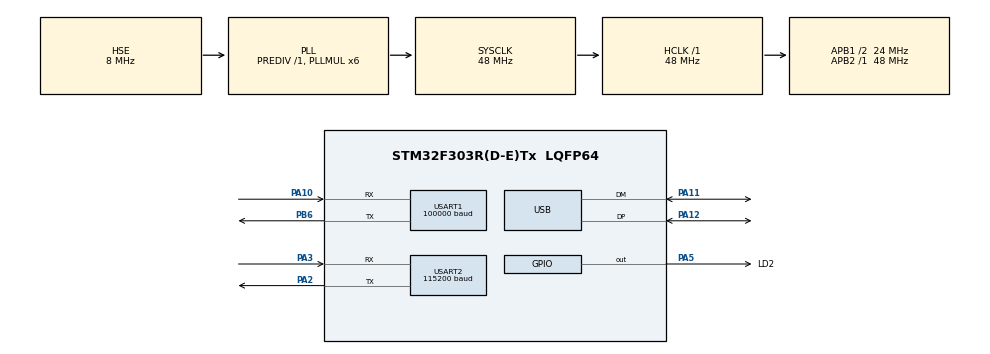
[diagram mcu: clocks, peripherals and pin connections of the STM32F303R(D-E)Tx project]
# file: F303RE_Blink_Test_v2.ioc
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Dma.Request0=USART1_RX
Dma.USART1_RX.0.Direction=DMA_PERIPH_TO_MEMORY
Dma.USART1_RX.0.Instance=DMA1_Channel5
Dma.USART1_RX.0.MemDataAlignment=DMA_MDATAALIGN_BYTE
Dma.USART1_RX.0.MemInc=DMA_MINC_ENABLE
Dma.USART1_RX.0.Mode=DMA_CIRCULAR
Dma.USART1_RX.0.PeriphDataAlignment=DMA_PDATAALIGN_BYTE
Dma.USART1_RX.0.PeriphInc=DMA_PINC_DISABLE
Dma.USART1_RX.0.Priority=DMA_PRIORITY_HIGH
Mcu.Family=STM32F3
Mcu.Name=STM32F303R(D-E)Tx
Mcu.Package=LQFP64
NVIC.DMA1_Channel5_IRQn=true\:0\:0\:false\:false\:true\:false\:true\:true
NVIC.PriorityGroup=NVIC_PRIORITYGROUP_4
NVIC.USART1_IRQn=true\:0\:0\:false\:false\:true\:true\:true\:true
NVIC.USB_LP_CAN_RX0_IRQn=true\:0\:0\:false\:false\:true\:false\:true\:true
PA10.Mode=Asynchronous
PA10.Signal=USART1_RX
PA11.Mode=Device
PA11.Signal=USB_DM
PA12.Mode=Device
PA12.Signal=USB_DP
PA13.Mode=Serial_Wire
PA13.Signal=SYS_JTMS-SWDIO
PA14.Mode=Serial_Wire
PA14.Signal=SYS_JTCK-SWCLK
PA2.Mode=Asynchronous
PA2.Signal=USART2_TX
PA3.Mode=Asynchronous
PA3.Signal=USART2_RX
PA5.GPIO_Label=LD2
PA5.Signal=GPIO_Output
PB6.Mode=Asynchronous
PB6.Signal=USART1_TX
PF0-OSC_IN.Mode=HSE-External-Clock-Source
PF0-OSC_IN.Signal=RCC_OSC_IN
ProjectManager.HeapSize=0x200
ProjectManager.StackSize=0x400
ProjectManager.TargetToolchain=STM32CubeIDE
RCC.AHBFreq_Value=48000000
RCC.APB1CLKDivider=RCC_HCLK_DIV2
RCC.APB1Freq_Value=24000000
RCC.APB1TimFreq_Value=48000000
RCC.APB2Freq_Value=48000000
RCC.APB2TimFreq_Value=48000000
RCC.CortexFreq_Value=48000000
RCC.HCLKFreq_Value=48000000
RCC.HSE_VALUE=8000000
RCC.HSI_VALUE=8000000
RCC.LSE_VALUE=32768
RCC.PLLMUL=RCC_PLL_MUL6
RCC.SYSCLKFreq_VALUE=48000000
RCC.SYSCLKSourceVirtual=RCC_SYSCLKSOURCE_PLLCLK
RCC.USBFreq_Value=48000000
USART1.BaudRate=100000
USART1.Mode=MODE_RX
USART1.Parity=PARITY_EVEN
USART1.RxPinLevelInvertParam=ADVFEATURE_RXINV_ENABLE
USART1.StopBits=STOPBITS_2
USART1.VirtualMode-Asynchronous=VM_ASYNC
USART1.WordLength=WORDLENGTH_9B
USART2.BaudRate=115200
USART2.DMADisableonRxErrorParam=ADVFEATURE_DMA_DISABLEONRXERROR
USART2.OverrunDisableParam=ADVFEATURE_OVERRUN_DISABLE
USART2.VirtualMode-Asynchronous=VM_ASYNC
USB_DEVICE.CLASS_NAME_FS=CUSTOM_HID
USB_DEVICE.MANUFACTURER_STRING=ASTRON BILECIK GM
USB_DEVICE.PRODUCT_STRING_CUSTOMHID_FS=STM32 SBUS Joystick
USB_DEVICE.USBD_SELF_POWERED=0
USB_DEVICE.VirtualMode=CustomHid
USB_DEVICE.VirtualModeFS=Custom_Hid_FS
VP_USB_DEVICE_VS_USB_DEVICE_CUSTOM_HID_FS.Mode=CUSTOM_HID_FS
board=custom

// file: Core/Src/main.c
/* USER CODE BEGIN Header */
/**
  ******************************************************************************
  * @file           : main.c
  * @brief          : Main program body
  ******************************************************************************
  * @attention
  *
  * Copyright (c) 2026 STMicroelectronics.
  * All rights reserved.
  *
  * This software is licensed under terms that can be found in the LICENSE file
  * in the root directory of this software component.
  * If no LICENSE file comes with this software, it is provided AS-IS.
  *
  ******************************************************************************
  */
/* USER CODE END Header */
#include "main.h"
#include "usb_device.h"

/* USER CODE BEGIN Includes */
#include <stdio.h>
#include <string.h>
#include "usb_device.h"
#include "usbd_customhid.h"
/* USER CODE END Includes */

/* USER CODE BEGIN PM */
#define SBUS_FRAME_SIZE             25U
#define SBUS_DMA_BUF_SIZE           64U
#define HID_JOYSTICK_REPORT_SIZE    15U
/* USER CODE END PM */

UART_HandleTypeDef huart1;
UART_HandleTypeDef huart2;
DMA_HandleTypeDef hdma_usart1_rx;

/* USER CODE BEGIN PV */

extern USBD_HandleTypeDef hUsbDeviceFS;

static uint8_t sbus_frame[SBUS_FRAME_SIZE];
static uint8_t sbus_index = 0;

static uint8_t sbus_flags = 0;
static uint8_t sbus_end_byte = 0;
static uint16_t sbus_channels[16] = {0};
static uint32_t sbus_frames = 0;
static uint32_t sbus_uart_errors = 0;
static uint32_t sbus_last_byte_ms = 0;
static uint32_t sbus_report_ms = 0;
static uint32_t led_toggle_ms = 0;

static char sbus_debug_msg[192];
static uint8_t sbus_dma_buf[SBUS_DMA_BUF_SIZE];
static uint16_t sbus_dma_old_pos = 0U;

static uint8_t hid_report[HID_JOYSTICK_REPORT_SIZE] = {0};
static uint32_t hid_last_send_ms = 0;

/* USER CODE END PV */

void SystemClock_Config(void);
static void MX_GPIO_Init(void);
static void MX_DMA_Init(void);
static void MX_USART2_UART_Init(void);
static void MX_USART1_UART_Init(void);
/* USER CODE BEGIN PFP */

static void SBUS_DecodeFrame(const uint8_t *frame);
static void SBUS_ProcessByte(uint8_t byte);
static void SBUS_ProcessDmaRx(void);
/* USER CODE END PFP */

/* USER CODE BEGIN 0 */

static void SBUS_DecodeFrame(const uint8_t *frame)
{
  uint8_t channel;

  for (channel = 0U; channel < 16U; channel++)
  {
    uint16_t bit_index;
    uint8_t byte_index;
    uint8_t bit_offset;
    uint32_t packed_data;

    /*
     * Each SBUS channel is packed into 11 bits.
     * Channel payload starts at frame[1].
     */
    bit_index = (uint16_t)channel * 11U;
    byte_index = (uint8_t)(1U + (bit_index / 8U));
    bit_offset = (uint8_t)(bit_index % 8U);

    packed_data =
        ((uint32_t)frame[byte_index]) |
        ((uint32_t)frame[byte_index + 1U] << 8U) |
        ((uint32_t)frame[byte_index + 2U] << 16U);

    sbus_channels[channel] =
        (uint16_t)((packed_data >> bit_offset) & 0x07FFU);
  }

  sbus_flags = frame[23];
  sbus_end_byte = frame[24];
}

static void SBUS_ProcessByte(uint8_t byte)
{
  /* Wait for the SBUS frame start byte. */
  if (sbus_index == 0U)
  {
    if (byte != 0x0FU)
    {
      return;
    }
  }

  sbus_frame[sbus_index++] = byte;

  /* A full 25-byte SBUS frame has been received. */
  if (sbus_index >= SBUS_FRAME_SIZE)
  {
    sbus_flags = sbus_frame[23];
    sbus_end_byte = sbus_frame[24];

    if ((sbus_frame[0] == 0x0FU) &&
        (sbus_end_byte == 0x00U))
    {
      SBUS_DecodeFrame(sbus_frame);
      sbus_frames++;
      sbus_last_byte_ms = HAL_GetTick();
    }
    else
    {
      sbus_uart_errors++;
    }

    sbus_index = 0U;
  }
}

static void SBUS_ProcessDmaRx(void)
{
  uint16_t current_pos;

  current_pos = (uint16_t)(
      SBUS_DMA_BUF_SIZE -
      __HAL_DMA_GET_COUNTER(&hdma_usart1_rx)
  );

  if (current_pos == sbus_dma_old_pos)
  {
    return;
  }

  /* DMA has not wrapped around the circular buffer yet. */
  if (current_pos > sbus_dma_old_pos)
  {
    for (uint16_t i = sbus_dma_old_pos; i < current_pos; i++)
    {
      SBUS_ProcessByte(sbus_dma_buf[i]);
    }
  }
  else
  {
    /* DMA wrapped around the end of the circular buffer. */
    for (uint16_t i = sbus_dma_old_pos;
         i < SBUS_DMA_BUF_SIZE;
         i++)
    {
      SBUS_ProcessByte(sbus_dma_buf[i]);
    }

    for (uint16_t i = 0U; i < current_pos; i++)
    {
      SBUS_ProcessByte(sbus_dma_buf[i]);
    }
  }

  sbus_dma_old_pos = current_pos;
}

/* Convert an SBUS channel from about 200-1800 to a HID axis from 0-32767. */
static uint16_t SBUS_To_HID_Axis(uint16_t value)
{
  const int32_t in_min = 200;
  const int32_t in_max = 1800;
  const int32_t out_max = 32767;

  int32_t v = (int32_t)value;

  if (v < in_min)
  {
    v = in_min;
  }
  else if (v > in_max)
  {
    v = in_max;
  }

  return (uint16_t)(((v - in_min) * out_max) / (in_max - in_min));
}

/* Convert a centered channel such as roll/pitch/yaw with a dead zone around 1000. */
static uint16_t SBUS_To_HID_Axis_Centered(uint16_t value)
{
  const int32_t in_min = 200;
  const int32_t in_center = 1000;
  const int32_t in_max = 1800;
  const int32_t deadzone = 25;

  int32_t v = (int32_t)value;

  if ((v > (in_center - deadzone)) &&
      (v < (in_center + deadzone)))
  {
    v = in_center;
  }

  if (v < in_min)
  {
    v = in_min;
  }
  else if (v > in_max)
  {
    v = in_max;
  }

  return (uint16_t)(((v - in_min) * 32767) / (in_max - in_min));
}

/* Store a 16-bit value in the HID report using little-endian byte order. */
static void HID_Put_U16_LE(uint8_t *buf, uint8_t index, uint16_t value)
{
  buf[index] = (uint8_t)(value & 0xFFU);
  buf[index + 1U] = (uint8_t)((value >> 8) & 0xFFU);
}

/* Convert the three-position CH5 switch into buttons. */
static uint8_t CH5_To_Buttons(uint16_t ch5)
{
  uint8_t buttons = 0x00U;

  /*
   * CH5 switch C:
   * Up     ≈ 200   -> Button 1
   * Middle ≈ 1000  -> Button 2
   * Down   ≈ 1800  -> Button 3
   */

  if (ch5 < 600U)
  {
    buttons |= (1U << 0);   /* Button 1 */
  }
  else if (ch5 < 1400U)
  {
    buttons |= (1U << 1);   /* Button 2 */
  }
  else
  {
    buttons |= (1U << 2);   /* Button 3 */
  }

  return buttons;
}

/* Build and send the USB HID joystick report. */
static void HID_Send_Joystick_Report(void)
{
  uint16_t axis_x;
  uint16_t axis_y;
  uint16_t axis_z;
  uint16_t axis_rx;
  uint16_t axis_ry;
  uint16_t axis_rz;
  uint16_t axis_slider;
  uint8_t buttons;

  /*
   * HID report layout - total 15 bytes:
   *
   * Byte 0-1   X       CH1 Roll
   * Byte 2-3   Y       CH2 Pitch
   * Byte 4-5   Z       CH3 Throttle
   * Byte 6-7   Rx      CH6 left knob
   * Byte 8-9   Ry      CH7 rear lever
   * Byte 10-11 Rz      CH4 Yaw
   * Byte 12-13 Slider  CH8 right knob
   * Byte 14    Buttons CH5 switch
   */

  axis_x      = SBUS_To_HID_Axis_Centered(sbus_channels[0]);  /* CH1 */
  axis_y      = SBUS_To_HID_Axis_Centered(sbus_channels[1]);  /* CH2 */
  axis_z      = SBUS_To_HID_Axis(sbus_channels[2]);           /* CH3 */
  axis_rx     = SBUS_To_HID_Axis(sbus_channels[5]);           /* CH6 */
  axis_ry     = SBUS_To_HID_Axis(sbus_channels[6]);           /* CH7 */
  axis_rz     = SBUS_To_HID_Axis_Centered(sbus_channels[3]);  /* CH4 */
  axis_slider = SBUS_To_HID_Axis(sbus_channels[7]);           /* CH8 */
  buttons     = CH5_To_Buttons(sbus_channels[4]);             /* CH5 */

  HID_Put_U16_LE(hid_report, 0U,  axis_x);
  HID_Put_U16_LE(hid_report, 2U,  axis_y);
  HID_Put_U16_LE(hid_report, 4U,  axis_z);
  HID_Put_U16_LE(hid_report, 6U,  axis_rx);
  HID_Put_U16_LE(hid_report, 8U,  axis_ry);
  HID_Put_U16_LE(hid_report, 10U, axis_rz);
  HID_Put_U16_LE(hid_report, 12U, axis_slider);

  hid_report[14] = buttons;

  (void)USBD_CUSTOM_HID_SendReport(&hUsbDeviceFS,
                                   hid_report,
                                   HID_JOYSTICK_REPORT_SIZE);
}

/* USER CODE END 0 */

int main(void)
{

  /* MCU Configuration--------------------------------------------------------*/

  /* Reset of all peripherals, Initializes the Flash interface and the Systick. */
  HAL_Init();

  /* Configure the system clock */
  SystemClock_Config();

  /* Initialize all configured peripherals */
  MX_GPIO_Init();
  MX_DMA_Init();
  MX_USART2_UART_Init();
  MX_USART1_UART_Init();
  MX_USB_DEVICE_Init();
  /* USER CODE BEGIN 2 */

  sbus_dma_old_pos = 0U;
  sbus_index = 0U;

  if (HAL_UART_Receive_DMA(&huart1,
                           sbus_dma_buf,
                           SBUS_DMA_BUF_SIZE) != HAL_OK)
  {
    Error_Handler();
  }

  /* USER CODE END 2 */

  /* Infinite loop */
  /* USER CODE BEGIN WHILE */
  while (1)
  {
    /*
     * Process all new bytes written by DMA.
     * inside the circular buffer.
     */
    SBUS_ProcessDmaRx();

    {
      uint32_t now = HAL_GetTick();

      /*
       * Send a USB HID joystick report about every 10 ms
       * only when recent SBUS data is available.
       */
      if (((now - hid_last_send_ms) >= 10U) &&
          (sbus_last_byte_ms > 0U) &&
          ((now - sbus_last_byte_ms) <= 100U))
      {
        hid_last_send_ms = now;
        HID_Send_Joystick_Report();
      }

      /*
       * Keep LD2 blinking to show that the firmware is running.
       */
      if ((now - led_toggle_ms) >= 500U)
      {
        led_toggle_ms = now;
        HAL_GPIO_TogglePin(LD2_GPIO_Port, LD2_Pin);
      }

      /*
       * Send one debug line per second through USART2 to Tera Term.
       */
      if ((now - sbus_report_ms) >= 1000U)
      {
        int message_length;
        uint16_t transmit_length;

        sbus_report_ms = now;

        if (sbus_frames > 0U)
        {
          message_length = snprintf(
              sbus_debug_msg,
              sizeof(sbus_debug_msg),
              "fps=%lu err=%lu | "
              "CH1=%4u CH2=%4u CH3=%4u CH4=%4u "
              "CH5=%4u CH6=%4u CH7=%4u CH8=%4u | "
              "flags=0x%02X end=0x%02X\r\n",
              (unsigned long)sbus_frames,
              (unsigned long)sbus_uart_errors,
              (unsigned int)sbus_channels[0],
              (unsigned int)sbus_channels[1],
              (unsigned int)sbus_channels[2],
              (unsigned int)sbus_channels[3],
              (unsigned int)sbus_channels[4],
              (unsigned int)sbus_channels[5],
              (unsigned int)sbus_channels[6],
              (unsigned int)sbus_channels[7],
              (unsigned int)sbus_flags,
              (unsigned int)sbus_end_byte);
        }
        else
        {
          message_length = snprintf(
              sbus_debug_msg,
              sizeof(sbus_debug_msg),
              "NO SBUS frames errors=%lu\r\n",
              (unsigned long)sbus_uart_errors);
        }

        if (message_length > 0)
        {
          if (message_length >= (int)sizeof(sbus_debug_msg))
          {
            transmit_length =
                (uint16_t)(sizeof(sbus_debug_msg) - 1U);
          }
          else
          {
            transmit_length = (uint16_t)message_length;
          }

          HAL_UART_Transmit(
              &huart2,
              (uint8_t *)sbus_debug_msg,
              transmit_length,
              100U);
        }

        /*
         * Reset only the one-second report counters.
         * The decoded channel values remain stored.
         */
        sbus_frames = 0U;
        sbus_uart_errors = 0U;
      }
    }

    /* USER CODE END WHILE */

  }
}

void SystemClock_Config(void)
{
  RCC_OscInitTypeDef RCC_OscInitStruct = {0};
  RCC_ClkInitTypeDef RCC_ClkInitStruct = {0};
  RCC_PeriphCLKInitTypeDef PeriphClkInit = {0};

  /** Initializes the RCC Oscillators according to the specified parameters
  * in the RCC_OscInitTypeDef structure.
  */
  RCC_OscInitStruct.OscillatorType = RCC_OSCILLATORTYPE_HSE;
  RCC_OscInitStruct.HSEState = RCC_HSE_BYPASS;
  RCC_OscInitStruct.HSIState = RCC_HSI_ON;
  RCC_OscInitStruct.PLL.PLLState = RCC_PLL_ON;
  RCC_OscInitStruct.PLL.PLLSource = RCC_PLLSOURCE_HSE;
  RCC_OscInitStruct.PLL.PLLMUL = RCC_PLL_MUL6;
  RCC_OscInitStruct.PLL.PREDIV = RCC_PREDIV_DIV1;
  if (HAL_RCC_OscConfig(&RCC_OscInitStruct) != HAL_OK)
  {
    Error_Handler();
  }

  /** Initializes the CPU, AHB and APB buses clocks
  */
  RCC_ClkInitStruct.ClockType = RCC_CLOCKTYPE_HCLK|RCC_CLOCKTYPE_SYSCLK
                              |RCC_CLOCKTYPE_PCLK1|RCC_CLOCKTYPE_PCLK2;
  RCC_ClkInitStruct.SYSCLKSource = RCC_SYSCLKSOURCE_PLLCLK;
  RCC_ClkInitStruct.AHBCLKDivider = RCC_SYSCLK_DIV1;
  RCC_ClkInitStruct.APB1CLKDivider = RCC_HCLK_DIV2;
  RCC_ClkInitStruct.APB2CLKDivider = RCC_HCLK_DIV1;

  if (HAL_RCC_ClockConfig(&RCC_ClkInitStruct, FLASH_LATENCY_1) != HAL_OK)
  {
    Error_Handler();
  }
  PeriphClkInit.PeriphClockSelection = RCC_PERIPHCLK_USB|RCC_PERIPHCLK_USART1
                              |RCC_PERIPHCLK_USART2;
  PeriphClkInit.Usart1ClockSelection = RCC_USART1CLKSOURCE_PCLK2;
  PeriphClkInit.Usart2ClockSelection = RCC_USART2CLKSOURCE_PCLK1;
  PeriphClkInit.USBClockSelection = RCC_USBCLKSOURCE_PLL;
  if (HAL_RCCEx_PeriphCLKConfig(&PeriphClkInit) != HAL_OK)
  {
    Error_Handler();
  }
}

static void MX_USART1_UART_Init(void)
{

  huart1.Instance = USART1;
  huart1.Init.BaudRate = 100000;
  huart1.Init.WordLength = UART_WORDLENGTH_9B;
  huart1.Init.StopBits = UART_STOPBITS_2;
  huart1.Init.Parity = UART_PARITY_EVEN;
  huart1.Init.Mode = UART_MODE_RX;
  huart1.Init.HwFlowCtl = UART_HWCONTROL_NONE;
  huart1.Init.OverSampling = UART_OVERSAMPLING_16;
  huart1.Init.OneBitSampling = UART_ONE_BIT_SAMPLE_DISABLE;
  huart1.AdvancedInit.AdvFeatureInit = UART_ADVFEATURE_RXINVERT_INIT;
  huart1.AdvancedInit.RxPinLevelInvert = UART_ADVFEATURE_RXINV_ENABLE;
  if (HAL_UART_Init(&huart1) != HAL_OK)
  {
    Error_Handler();
  }

}

static void MX_USART2_UART_Init(void)
{

  huart2.Instance = USART2;
  huart2.Init.BaudRate = 115200;
  huart2.Init.WordLength = UART_WORDLENGTH_8B;
  huart2.Init.StopBits = UART_STOPBITS_1;
  huart2.Init.Parity = UART_PARITY_NONE;
  huart2.Init.Mode = UART_MODE_TX_RX;
  huart2.Init.HwFlowCtl = UART_HWCONTROL_NONE;
  huart2.Init.OverSampling = UART_OVERSAMPLING_16;
  huart2.Init.OneBitSampling = UART_ONE_BIT_SAMPLE_DISABLE;
  huart2.AdvancedInit.AdvFeatureInit = UART_ADVFEATURE_RXOVERRUNDISABLE_INIT|UART_ADVFEATURE_DMADISABLEONERROR_INIT;
  huart2.AdvancedInit.OverrunDisable = UART_ADVFEATURE_OVERRUN_DISABLE;
  huart2.AdvancedInit.DMADisableonRxError = UART_ADVFEATURE_DMA_DISABLEONRXERROR;
  if (HAL_UART_Init(&huart2) != HAL_OK)
  {
    Error_Handler();
  }

}

static void MX_DMA_Init(void)
{

  /* DMA controller clock enable */
  __HAL_RCC_DMA1_CLK_ENABLE();

  /* DMA interrupt init */
  /* DMA1_Channel5_IRQn interrupt configuration */
  HAL_NVIC_SetPriority(DMA1_Channel5_IRQn, 0, 0);
  HAL_NVIC_EnableIRQ(DMA1_Channel5_IRQn);

}

static void MX_GPIO_Init(void)
{
  GPIO_InitTypeDef GPIO_InitStruct = {0};

  /* GPIO Ports Clock Enable */
  __HAL_RCC_GPIOF_CLK_ENABLE();
  __HAL_RCC_GPIOA_CLK_ENABLE();
  __HAL_RCC_GPIOB_CLK_ENABLE();

  /*Configure GPIO pin Output Level */
  HAL_GPIO_WritePin(LD2_GPIO_Port, LD2_Pin, GPIO_PIN_RESET);

  /*Configure GPIO pin : LD2_Pin */
  GPIO_InitStruct.Pin = LD2_Pin;
  GPIO_InitStruct.Mode = GPIO_MODE_OUTPUT_PP;
  GPIO_InitStruct.Pull = GPIO_NOPULL;
  GPIO_InitStruct.Speed = GPIO_SPEED_FREQ_LOW;
  HAL_GPIO_Init(LD2_GPIO_Port, &GPIO_InitStruct);

}

void Error_Handler(void)
{
  __disable_irq();
  while (1)
  {
  }
}
